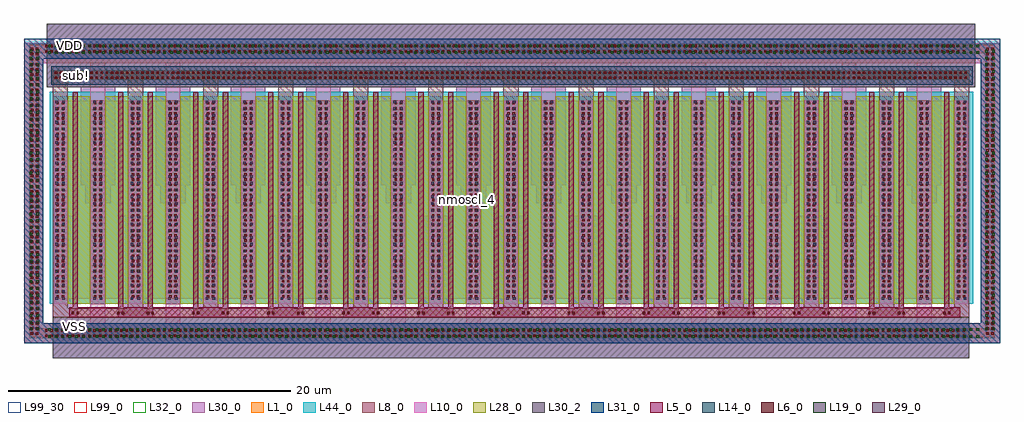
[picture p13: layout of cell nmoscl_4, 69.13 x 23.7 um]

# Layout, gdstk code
import gdstk
lib = gdstk.Library(unit=1e-6, precision=1e-09)
def R(c, l, rs):  # rectangles x0, y0, x1, y1
    for r in rs: c.add(gdstk.rectangle(r[:2], r[2:], *l))
def A(c, l, x, y, w, h, nx, ny, dx, dy):  # array of equal rectangles
    R(c, l, [(x+i*dx, y+j*dy, x+i*dx+w, y+j*dy+h) for i in range(nx) for j in range(ny)])
def P(c, l, *ps):  # polygons
    for p in ps: c.add(gdstk.Polygon(p, *l))
L1_0 = (1, 0)
L5_0 = (5, 0)
L6_0 = (6, 0)
L8_0 = (8, 0)
L10_0 = (10, 0)
L14_0 = (14, 0)
L19_0 = (19, 0)
L28_0 = (28, 0)
L29_0 = (29, 0)
L30_0 = (30, 0)
L30_2 = (30, 2)
L31_0 = (31, 0)
L32_0 = (32, 0)
L44_0 = (44, 0)
L99_0 = (99, 0)
L99_30 = (99, 30)

nmoscl_4 = lib.new_cell('nmoscl_4')
P(nmoscl_4, L1_0, [(0,1.2),(0,1.21),(-0.005,1.21),(-0.005,15.19),(0,15.19),(0,15.21),(64.49,15.21),(64.49,15.19),(64.495,15.19),(64.495,1.21),(64.49,1.21),(64.49,1.2)],
  [(-0.135,16.695),(-0.135,17.355),(64.605,17.355),(64.605,17.34),(64.63,17.34),(64.63,16.71),(64.605,16.71),(64.605,16.695)],
  [(-0.825,-1.58),(-0.825,-1.53),(-1.83,-1.53),(-1.83,-1.42),(-1.84,-1.42),(-1.84,-0.9),(65.83,-0.9),(65.83,18.57),(-1.18,18.57),(-1.18,-0.9),(-1.84,-0.9),(-1.84,19.04),(-1.83,19.04),(-1.83,19.2),(-0.825,19.2),(-0.825,19.25),(64.455,19.25),(64.455,19.2),(66.46,19.2),(66.46,19.04),(66.5,19.04),(66.5,-1.42),(66.46,-1.42),(66.46,-1.53),(64.455,-1.53),(64.455,-1.58)])
P(nmoscl_4, L5_0, [(0.96,-0.12),(0.96,0.59),(1.2,0.59),(1.2,15.84),(1.56,15.84),(1.56,0.59),(4.41,0.59),(4.41,15.84),(4.77,15.84),(4.77,0.59),(6.52,0.59),(6.52,15.84),(6.88,15.84),(6.88,0.59),(9.73,0.59),(9.73,15.84),(10.09,15.84),(10.09,0.59),(11.84,0.59),(11.84,15.84),(12.2,15.84),(12.2,0.59),(15.05,0.59),(15.05,15.84),(15.41,15.84),(15.41,0.59),(17.16,0.59),(17.16,15.84),(17.52,15.84),(17.52,0.59),(20.37,0.59),(20.37,15.84),(20.73,15.84),(20.73,0.59),(22.48,0.59),(22.48,15.84),(22.84,15.84),(22.84,0.59),(25.69,0.59),(25.69,15.84),(26.05,15.84),(26.05,0.59),(27.8,0.59),(27.8,15.84),(28.16,15.84),(28.16,0.59),(31.01,0.59),(31.01,15.84),(31.37,15.84),(31.37,0.59),(33.12,0.59),(33.12,15.84),(33.48,15.84),(33.48,0.59),(36.33,0.59),(36.33,15.84),(36.69,15.84),(36.69,0.59),(38.44,0.59),(38.44,15.84),(38.8,15.84),(38.8,0.59),(41.65,0.59),(41.65,15.84),(42.01,15.84),(42.01,0.59),(43.76,0.59),(43.76,15.84),(44.12,15.84),(44.12,0.59),(46.97,0.59),(46.97,15.84),(47.33,15.84),(47.33,0.59),(49.08,0.59),(49.08,15.84),(49.44,15.84),(49.44,0.59),(52.29,0.59),(52.29,15.84),(52.65,15.84),(52.65,0.59),(54.4,0.59),(54.4,15.84),(54.76,15.84),(54.76,0.59),(57.61,0.59),(57.61,15.84),(57.97,15.84),(57.97,0.59),(59.72,0.59),(59.72,15.84),(60.08,15.84),(60.08,0.59),(62.93,0.59),(62.93,15.84),(63.29,15.84),(63.29,0.59),(64.06,0.59),(64.06,-0.12)])
A(nmoscl_4, L6_0, -0.755, -1.51, 0.16, 0.16, 172, 2, 0.38, 0.38)
A(nmoscl_4, L6_0, -1.77, -1.35, 0.16, 0.16, 1, 57, 0, 0.36)
A(nmoscl_4, L6_0, -1.41, -1.35, 0.16, 0.16, 1, 57, 0, 0.36)
A(nmoscl_4, L6_0, 65.91, -1.35, 0.16, 0.16, 1, 57, 0, 0.36)
A(nmoscl_4, L6_0, 66.27, -1.35, 0.16, 0.16, 1, 57, 0, 0.36)
A(nmoscl_4, L6_0, 0.065, 1.28, 0.16, 0.16, 1, 39, 0, 0.36)
A(nmoscl_4, L6_0, 0.425, 1.28, 0.16, 0.16, 1, 39, 0, 0.36)
A(nmoscl_4, L6_0, 2.725, 1.28, 0.16, 0.16, 1, 39, 0, 0.36)
A(nmoscl_4, L6_0, 3.085, 1.28, 0.16, 0.16, 1, 39, 0, 0.36)
A(nmoscl_4, L6_0, 5.385, 1.28, 0.16, 0.16, 1, 39, 0, 0.36)
A(nmoscl_4, L6_0, 5.745, 1.28, 0.16, 0.16, 1, 39, 0, 0.36)
A(nmoscl_4, L6_0, 8.045, 1.28, 0.16, 0.16, 1, 39, 0, 0.36)
A(nmoscl_4, L6_0, 8.405, 1.28, 0.16, 0.16, 1, 39, 0, 0.36)
A(nmoscl_4, L6_0, 10.705, 1.28, 0.16, 0.16, 1, 39, 0, 0.36)
A(nmoscl_4, L6_0, 11.065, 1.28, 0.16, 0.16, 1, 39, 0, 0.36)
A(nmoscl_4, L6_0, 13.365, 1.28, 0.16, 0.16, 1, 39, 0, 0.36)
A(nmoscl_4, L6_0, 13.725, 1.28, 0.16, 0.16, 1, 39, 0, 0.36)
A(nmoscl_4, L6_0, 16.025, 1.28, 0.16, 0.16, 1, 39, 0, 0.36)
A(nmoscl_4, L6_0, 16.385, 1.28, 0.16, 0.16, 1, 39, 0, 0.36)
A(nmoscl_4, L6_0, 18.685, 1.28, 0.16, 0.16, 1, 39, 0, 0.36)
A(nmoscl_4, L6_0, 19.045, 1.28, 0.16, 0.16, 1, 39, 0, 0.36)
A(nmoscl_4, L6_0, 21.345, 1.28, 0.16, 0.16, 1, 39, 0, 0.36)
A(nmoscl_4, L6_0, 21.705, 1.28, 0.16, 0.16, 1, 39, 0, 0.36)
A(nmoscl_4, L6_0, 24.005, 1.28, 0.16, 0.16, 1, 39, 0, 0.36)
A(nmoscl_4, L6_0, 24.365, 1.28, 0.16, 0.16, 1, 39, 0, 0.36)
A(nmoscl_4, L6_0, 26.665, 1.28, 0.16, 0.16, 1, 39, 0, 0.36)
A(nmoscl_4, L6_0, 27.025, 1.28, 0.16, 0.16, 1, 39, 0, 0.36)
A(nmoscl_4, L6_0, 29.325, 1.28, 0.16, 0.16, 1, 39, 0, 0.36)
A(nmoscl_4, L6_0, 29.685, 1.28, 0.16, 0.16, 1, 39, 0, 0.36)
A(nmoscl_4, L6_0, 31.985, 1.28, 0.16, 0.16, 1, 39, 0, 0.36)
A(nmoscl_4, L6_0, 32.345, 1.28, 0.16, 0.16, 1, 39, 0, 0.36)
A(nmoscl_4, L6_0, 34.645, 1.28, 0.16, 0.16, 1, 39, 0, 0.36)
A(nmoscl_4, L6_0, 35.005, 1.28, 0.16, 0.16, 1, 39, 0, 0.36)
A(nmoscl_4, L6_0, 37.305, 1.28, 0.16, 0.16, 1, 39, 0, 0.36)
A(nmoscl_4, L6_0, 37.665, 1.28, 0.16, 0.16, 1, 39, 0, 0.36)
A(nmoscl_4, L6_0, 39.965, 1.28, 0.16, 0.16, 1, 39, 0, 0.36)
A(nmoscl_4, L6_0, 40.325, 1.28, 0.16, 0.16, 1, 39, 0, 0.36)
A(nmoscl_4, L6_0, 42.625, 1.28, 0.16, 0.16, 1, 39, 0, 0.36)
A(nmoscl_4, L6_0, 42.985, 1.28, 0.16, 0.16, 1, 39, 0, 0.36)
A(nmoscl_4, L6_0, 45.285, 1.28, 0.16, 0.16, 1, 39, 0, 0.36)
A(nmoscl_4, L6_0, 45.645, 1.28, 0.16, 0.16, 1, 39, 0, 0.36)
A(nmoscl_4, L6_0, 47.945, 1.28, 0.16, 0.16, 1, 39, 0, 0.36)
A(nmoscl_4, L6_0, 48.305, 1.28, 0.16, 0.16, 1, 39, 0, 0.36)
A(nmoscl_4, L6_0, 50.605, 1.28, 0.16, 0.16, 1, 39, 0, 0.36)
A(nmoscl_4, L6_0, 50.965, 1.28, 0.16, 0.16, 1, 39, 0, 0.36)
A(nmoscl_4, L6_0, 53.265, 1.28, 0.16, 0.16, 1, 39, 0, 0.36)
A(nmoscl_4, L6_0, 53.625, 1.28, 0.16, 0.16, 1, 39, 0, 0.36)
A(nmoscl_4, L6_0, 55.925, 1.28, 0.16, 0.16, 1, 39, 0, 0.36)
A(nmoscl_4, L6_0, 56.285, 1.28, 0.16, 0.16, 1, 39, 0, 0.36)
A(nmoscl_4, L6_0, 58.585, 1.28, 0.16, 0.16, 1, 39, 0, 0.36)
A(nmoscl_4, L6_0, 58.945, 1.28, 0.16, 0.16, 1, 39, 0, 0.36)
A(nmoscl_4, L6_0, 61.245, 1.28, 0.16, 0.16, 1, 39, 0, 0.36)
A(nmoscl_4, L6_0, 61.605, 1.28, 0.16, 0.16, 1, 39, 0, 0.36)
A(nmoscl_4, L6_0, 63.905, 1.28, 0.16, 0.16, 1, 39, 0, 0.36)
A(nmoscl_4, L6_0, 64.265, 1.28, 0.16, 0.16, 1, 39, 0, 0.36)
A(nmoscl_4, L6_0, -0.065, 16.765, 0.16, 0.16, 180, 2, 0.36, 0.36)
A(nmoscl_4, L6_0, -0.755, 18.64, 0.16, 0.16, 172, 2, 0.38, 0.38)
R(nmoscl_4, L6_0, [(1.13,0.115,1.29,0.275), (1.47,0.115,1.63,0.275), (4.34,0.115,4.5,0.275), (4.68,0.115,4.84,0.275), (6.45,0.115,6.61,0.275), (6.79,0.115,6.95,0.275), (9.66,0.115,9.82,0.275), (10,0.115,10.16,0.275), (11.77,0.115,11.93,0.275), (12.11,0.115,12.27,0.275), (14.98,0.115,15.14,0.275), (15.32,0.115,15.48,0.275), (17.09,0.115,17.25,0.275), (17.43,0.115,17.59,0.275), (20.3,0.115,20.46,0.275), (20.64,0.115,20.8,0.275), (22.41,0.115,22.57,0.275), (22.75,0.115,22.91,0.275), (25.62,0.115,25.78,0.275), (25.96,0.115,26.12,0.275), (27.73,0.115,27.89,0.275), (28.07,0.115,28.23,0.275), (30.94,0.115,31.1,0.275), (31.28,0.115,31.44,0.275), (33.05,0.115,33.21,0.275), (33.39,0.115,33.55,0.275), (36.26,0.115,36.42,0.275), (36.6,0.115,36.76,0.275), (38.37,0.115,38.53,0.275), (38.71,0.115,38.87,0.275), (41.58,0.115,41.74,0.275), (41.92,0.115,42.08,0.275), (43.69,0.115,43.85,0.275), (44.03,0.115,44.19,0.275), (46.9,0.115,47.06,0.275), (47.24,0.115,47.4,0.275), (49.01,0.115,49.17,0.275), (49.35,0.115,49.51,0.275), (52.22,0.115,52.38,0.275), (52.56,0.115,52.72,0.275), (54.33,0.115,54.49,0.275), (54.67,0.115,54.83,0.275), (57.54,0.115,57.7,0.275), (57.88,0.115,58.04,0.275), (59.65,0.115,59.81,0.275), (59.99,0.115,60.15,0.275), (62.86,0.115,63.02,0.275), (63.2,0.115,63.36,0.275)])
P(nmoscl_4, L8_0, [(60.98,0.81),(60.98,15.21),(61.11,15.21),(61.11,15.245),(61.88,15.245),(61.88,15.21),(62.03,15.21),(62.03,0.81)],
  [(55.66,0.81),(55.66,15.21),(55.79,15.21),(55.79,15.245),(56.56,15.245),(56.56,15.21),(56.71,15.21),(56.71,0.81)],
  [(50.34,0.81),(50.34,15.21),(50.47,15.21),(50.47,15.245),(51.24,15.245),(51.24,15.21),(51.39,15.21),(51.39,0.81)],
  [(45.02,0.81),(45.02,15.21),(45.15,15.21),(45.15,15.245),(45.92,15.245),(45.92,15.21),(46.07,15.21),(46.07,0.81)],
  [(39.7,0.81),(39.7,15.21),(39.83,15.21),(39.83,15.245),(40.6,15.245),(40.6,15.21),(40.75,15.21),(40.75,0.81)],
  [(34.38,0.81),(34.38,15.21),(34.51,15.21),(34.51,15.245),(35.28,15.245),(35.28,15.21),(35.43,15.21),(35.43,0.81)],
  [(29.06,0.81),(29.06,15.21),(29.19,15.21),(29.19,15.245),(29.96,15.245),(29.96,15.21),(30.11,15.21),(30.11,0.81)],
  [(23.74,0.81),(23.74,15.21),(23.87,15.21),(23.87,15.245),(24.64,15.245),(24.64,15.21),(24.79,15.21),(24.79,0.81)],
  [(18.42,0.81),(18.42,15.21),(18.55,15.21),(18.55,15.245),(19.32,15.245),(19.32,15.21),(19.47,15.21),(19.47,0.81)],
  [(13.1,0.81),(13.1,15.21),(13.23,15.21),(13.23,15.245),(14,15.245),(14,15.21),(14.15,15.21),(14.15,0.81)],
  [(7.78,0.81),(7.78,15.21),(7.91,15.21),(7.91,15.245),(8.68,15.245),(8.68,15.21),(8.83,15.21),(8.83,0.81)],
  [(2.46,0.81),(2.46,15.21),(2.59,15.21),(2.59,15.245),(3.36,15.245),(3.36,15.21),(3.51,15.21),(3.51,0.81)],
  [(-0.21,-0.12),(-0.21,0.51),(63.65,0.51),(63.65,16.71),(59.38,16.71),(59.38,0.51),(58.31,0.51),(58.31,16.71),(54.06,16.71),(54.06,0.51),(52.99,0.51),(52.99,16.71),(48.74,16.71),(48.74,0.51),(47.67,0.51),(47.67,16.71),(43.42,16.71),(43.42,0.51),(42.35,0.51),(42.35,16.71),(38.1,16.71),(38.1,0.51),(37.03,0.51),(37.03,16.71),(32.78,16.71),(32.78,0.51),(31.71,0.51),(31.71,16.71),(27.46,16.71),(27.46,0.51),(26.39,0.51),(26.39,16.71),(22.14,16.71),(22.14,0.51),(21.07,0.51),(21.07,16.71),(16.82,16.71),(16.82,0.51),(15.75,0.51),(15.75,16.71),(11.5,16.71),(11.5,0.51),(10.43,0.51),(10.43,16.71),(6.18,16.71),(6.18,0.51),(5.11,0.51),(5.11,16.71),(0.84,16.71),(0.84,0.51),(-0.21,0.51),(-0.21,17.4),(64.69,17.4),(64.69,17.37),(64.7,17.37),(64.7,-0.12)],
  [(-2.25,-1.95),(-2.25,-0.54),(65.5,-0.54),(65.5,17.88),(-0.87,17.88),(-0.87,-0.54),(-2.25,-0.54),(-2.25,19.29),(66.88,19.29),(66.88,-1.95)])
P(nmoscl_4, L10_0, [(63.65,0.84),(63.65,15.21),(63.77,15.21),(63.77,15.24),(64.54,15.24),(64.54,15.21),(64.61,15.21),(64.61,0.84)],
  [(58.33,0.84),(58.33,15.21),(58.45,15.21),(58.45,15.24),(59.22,15.24),(59.22,15.21),(59.36,15.21),(59.36,0.84)],
  [(53.01,0.84),(53.01,15.21),(53.13,15.21),(53.13,15.24),(53.9,15.24),(53.9,15.21),(54.04,15.21),(54.04,0.84)],
  [(47.69,0.84),(47.69,15.21),(47.81,15.21),(47.81,15.24),(48.58,15.24),(48.58,15.21),(48.72,15.21),(48.72,0.84)],
  [(42.37,0.84),(42.37,15.21),(42.49,15.21),(42.49,15.24),(43.26,15.24),(43.26,15.21),(43.4,15.21),(43.4,0.84)],
  [(37.05,0.84),(37.05,15.21),(37.17,15.21),(37.17,15.24),(37.94,15.24),(37.94,15.21),(38.08,15.21),(38.08,0.84)],
  [(31.73,0.84),(31.73,15.21),(31.85,15.21),(31.85,15.24),(32.62,15.24),(32.62,15.21),(32.76,15.21),(32.76,0.84)],
  [(26.41,0.84),(26.41,15.21),(26.53,15.21),(26.53,15.24),(27.3,15.24),(27.3,15.21),(27.44,15.21),(27.44,0.84)],
  [(21.09,0.84),(21.09,15.21),(21.21,15.21),(21.21,15.24),(21.98,15.24),(21.98,15.21),(22.12,15.21),(22.12,0.84)],
  [(15.77,0.84),(15.77,15.21),(15.89,15.21),(15.89,15.24),(16.66,15.24),(16.66,15.21),(16.8,15.21),(16.8,0.84)],
  [(10.45,0.84),(10.45,15.21),(10.57,15.21),(10.57,15.24),(11.34,15.24),(11.34,15.21),(11.48,15.21),(11.48,0.84)],
  [(5.13,0.84),(5.13,15.21),(5.25,15.21),(5.25,15.24),(6.02,15.24),(6.02,15.21),(6.16,15.21),(6.16,0.84)],
  [(-0.12,0.84),(-0.12,15.21),(-0.07,15.21),(-0.07,15.24),(0.7,15.24),(0.7,15.21),(0.84,15.21),(0.84,0.84)],
  [(-2.25,-1.95),(-2.25,-0.54),(65.5,-0.54),(65.5,17.88),(62.03,17.88),(62.03,-0.54),(60.98,-0.54),(60.98,17.88),(56.71,17.88),(56.71,-0.54),(55.66,-0.54),(55.66,17.88),(51.39,17.88),(51.39,-0.54),(50.34,-0.54),(50.34,17.88),(46.07,17.88),(46.07,-0.54),(45.02,-0.54),(45.02,17.88),(40.75,17.88),(40.75,-0.54),(39.7,-0.54),(39.7,17.88),(35.43,17.88),(35.43,-0.54),(34.38,-0.54),(34.38,17.88),(30.11,17.88),(30.11,-0.54),(29.06,-0.54),(29.06,17.88),(24.79,17.88),(24.79,-0.54),(23.74,-0.54),(23.74,17.88),(19.47,17.88),(19.47,-0.54),(18.42,-0.54),(18.42,17.88),(14.15,17.88),(14.15,-0.54),(13.1,-0.54),(13.1,17.88),(8.83,17.88),(8.83,-0.54),(7.78,-0.54),(7.78,17.88),(3.51,17.88),(3.51,-0.54),(2.46,-0.54),(2.46,17.88),(-0.87,17.88),(-0.87,-0.54),(-2.25,-0.54),(-2.25,19.29),(66.88,19.29),(66.88,-1.95)])
R(nmoscl_4, L14_0, [(-0.33,16.35,64.96,17.67)])
A(nmoscl_4, L19_0, -0.545, -1.565, 0.19, 0.19, 138, 2, 0.48, 0.48)
A(nmoscl_4, L19_0, -1.845, -1.045, 0.19, 0.19, 1, 42, 0, 0.48)
A(nmoscl_4, L19_0, -1.365, -1.045, 0.19, 0.19, 1, 42, 0, 0.48)
A(nmoscl_4, L19_0, 65.835, -1.045, 0.19, 0.19, 1, 42, 0, 0.48)
A(nmoscl_4, L19_0, 66.315, -1.045, 0.19, 0.19, 1, 42, 0, 0.48)
A(nmoscl_4, L19_0, -0.02, 1.125, 0.19, 0.19, 1, 30, 0, 0.48)
A(nmoscl_4, L19_0, 0.46, 1.125, 0.19, 0.19, 1, 30, 0, 0.48)
A(nmoscl_4, L19_0, 2.64, 1.125, 0.19, 0.19, 1, 30, 0, 0.48)
A(nmoscl_4, L19_0, 3.12, 1.125, 0.19, 0.19, 1, 30, 0, 0.48)
A(nmoscl_4, L19_0, 5.3, 1.125, 0.19, 0.19, 1, 30, 0, 0.48)
A(nmoscl_4, L19_0, 5.78, 1.125, 0.19, 0.19, 1, 30, 0, 0.48)
A(nmoscl_4, L19_0, 7.96, 1.125, 0.19, 0.19, 1, 30, 0, 0.48)
A(nmoscl_4, L19_0, 8.44, 1.125, 0.19, 0.19, 1, 30, 0, 0.48)
A(nmoscl_4, L19_0, 10.62, 1.125, 0.19, 0.19, 1, 30, 0, 0.48)
A(nmoscl_4, L19_0, 11.1, 1.125, 0.19, 0.19, 1, 30, 0, 0.48)
A(nmoscl_4, L19_0, 13.28, 1.125, 0.19, 0.19, 1, 30, 0, 0.48)
A(nmoscl_4, L19_0, 13.76, 1.125, 0.19, 0.19, 1, 30, 0, 0.48)
A(nmoscl_4, L19_0, 15.94, 1.125, 0.19, 0.19, 1, 30, 0, 0.48)
A(nmoscl_4, L19_0, 16.42, 1.125, 0.19, 0.19, 1, 30, 0, 0.48)
A(nmoscl_4, L19_0, 18.6, 1.125, 0.19, 0.19, 1, 30, 0, 0.48)
A(nmoscl_4, L19_0, 19.08, 1.125, 0.19, 0.19, 1, 30, 0, 0.48)
A(nmoscl_4, L19_0, 21.26, 1.125, 0.19, 0.19, 1, 30, 0, 0.48)
A(nmoscl_4, L19_0, 21.74, 1.125, 0.19, 0.19, 1, 30, 0, 0.48)
A(nmoscl_4, L19_0, 23.92, 1.125, 0.19, 0.19, 1, 30, 0, 0.48)
A(nmoscl_4, L19_0, 24.4, 1.125, 0.19, 0.19, 1, 30, 0, 0.48)
A(nmoscl_4, L19_0, 26.58, 1.125, 0.19, 0.19, 1, 30, 0, 0.48)
A(nmoscl_4, L19_0, 27.06, 1.125, 0.19, 0.19, 1, 30, 0, 0.48)
A(nmoscl_4, L19_0, 29.24, 1.125, 0.19, 0.19, 1, 30, 0, 0.48)
A(nmoscl_4, L19_0, 29.72, 1.125, 0.19, 0.19, 1, 30, 0, 0.48)
A(nmoscl_4, L19_0, 31.9, 1.125, 0.19, 0.19, 1, 30, 0, 0.48)
A(nmoscl_4, L19_0, 32.38, 1.125, 0.19, 0.19, 1, 30, 0, 0.48)
A(nmoscl_4, L19_0, 34.56, 1.125, 0.19, 0.19, 1, 30, 0, 0.48)
A(nmoscl_4, L19_0, 35.04, 1.125, 0.19, 0.19, 1, 30, 0, 0.48)
A(nmoscl_4, L19_0, 37.22, 1.125, 0.19, 0.19, 1, 30, 0, 0.48)
A(nmoscl_4, L19_0, 37.7, 1.125, 0.19, 0.19, 1, 30, 0, 0.48)
A(nmoscl_4, L19_0, 39.88, 1.125, 0.19, 0.19, 1, 30, 0, 0.48)
A(nmoscl_4, L19_0, 40.36, 1.125, 0.19, 0.19, 1, 30, 0, 0.48)
A(nmoscl_4, L19_0, 42.54, 1.125, 0.19, 0.19, 1, 30, 0, 0.48)
A(nmoscl_4, L19_0, 43.02, 1.125, 0.19, 0.19, 1, 30, 0, 0.48)
A(nmoscl_4, L19_0, 45.2, 1.125, 0.19, 0.19, 1, 30, 0, 0.48)
A(nmoscl_4, L19_0, 45.68, 1.125, 0.19, 0.19, 1, 30, 0, 0.48)
A(nmoscl_4, L19_0, 47.86, 1.125, 0.19, 0.19, 1, 30, 0, 0.48)
A(nmoscl_4, L19_0, 48.34, 1.125, 0.19, 0.19, 1, 30, 0, 0.48)
A(nmoscl_4, L19_0, 50.52, 1.125, 0.19, 0.19, 1, 30, 0, 0.48)
A(nmoscl_4, L19_0, 51, 1.125, 0.19, 0.19, 1, 30, 0, 0.48)
A(nmoscl_4, L19_0, 53.18, 1.125, 0.19, 0.19, 1, 30, 0, 0.48)
A(nmoscl_4, L19_0, 53.66, 1.125, 0.19, 0.19, 1, 30, 0, 0.48)
A(nmoscl_4, L19_0, 55.84, 1.125, 0.19, 0.19, 1, 30, 0, 0.48)
A(nmoscl_4, L19_0, 56.32, 1.125, 0.19, 0.19, 1, 30, 0, 0.48)
A(nmoscl_4, L19_0, 58.5, 1.125, 0.19, 0.19, 1, 30, 0, 0.48)
A(nmoscl_4, L19_0, 58.98, 1.125, 0.19, 0.19, 1, 30, 0, 0.48)
A(nmoscl_4, L19_0, 61.16, 1.125, 0.19, 0.19, 1, 30, 0, 0.48)
A(nmoscl_4, L19_0, 61.64, 1.125, 0.19, 0.19, 1, 30, 0, 0.48)
A(nmoscl_4, L19_0, 63.82, 1.125, 0.19, 0.19, 1, 30, 0, 0.48)
A(nmoscl_4, L19_0, 64.3, 1.125, 0.19, 0.19, 1, 30, 0, 0.48)
A(nmoscl_4, L19_0, -0.545, 18.535, 0.19, 0.19, 138, 2, 0.48, 0.48)
R(nmoscl_4, L28_0, [(0.84,0.84,2.46,15.54), (3.51,0.84,5.13,15.54), (6.16,0.84,7.78,15.54), (8.83,0.84,10.45,15.54), (11.48,0.84,13.1,15.54), (14.15,0.84,15.77,15.54), (16.8,0.84,18.42,15.54), (19.47,0.84,21.09,15.54), (22.12,0.84,23.74,15.54), (24.79,0.84,26.41,15.54), (27.44,0.84,29.06,15.54), (30.11,0.84,31.73,15.54), (32.76,0.84,34.38,15.54), (35.43,0.84,37.05,15.54), (38.08,0.84,39.7,15.54), (40.75,0.84,42.37,15.54), (43.4,0.84,45.02,15.54), (46.07,0.84,47.69,15.54), (48.72,0.84,50.34,15.54), (51.39,0.84,53.01,15.54), (54.04,0.84,55.66,15.54), (56.71,0.84,58.33,15.54), (59.36,0.84,60.98,15.54), (62.03,0.84,63.65,15.54)])
A(nmoscl_4, L29_0, -0.02, 1.125, 0.19, 0.19, 1, 30, 0, 0.48)
A(nmoscl_4, L29_0, 0.46, 1.125, 0.19, 0.19, 1, 30, 0, 0.48)
A(nmoscl_4, L29_0, 2.64, 1.125, 0.19, 0.19, 1, 30, 0, 0.48)
A(nmoscl_4, L29_0, 3.12, 1.125, 0.19, 0.19, 1, 30, 0, 0.48)
A(nmoscl_4, L29_0, 5.3, 1.125, 0.19, 0.19, 1, 30, 0, 0.48)
A(nmoscl_4, L29_0, 5.78, 1.125, 0.19, 0.19, 1, 30, 0, 0.48)
A(nmoscl_4, L29_0, 7.96, 1.125, 0.19, 0.19, 1, 30, 0, 0.48)
A(nmoscl_4, L29_0, 8.44, 1.125, 0.19, 0.19, 1, 30, 0, 0.48)
A(nmoscl_4, L29_0, 10.62, 1.125, 0.19, 0.19, 1, 30, 0, 0.48)
A(nmoscl_4, L29_0, 11.1, 1.125, 0.19, 0.19, 1, 30, 0, 0.48)
A(nmoscl_4, L29_0, 13.28, 1.125, 0.19, 0.19, 1, 30, 0, 0.48)
A(nmoscl_4, L29_0, 13.76, 1.125, 0.19, 0.19, 1, 30, 0, 0.48)
A(nmoscl_4, L29_0, 15.94, 1.125, 0.19, 0.19, 1, 30, 0, 0.48)
A(nmoscl_4, L29_0, 16.42, 1.125, 0.19, 0.19, 1, 30, 0, 0.48)
A(nmoscl_4, L29_0, 18.6, 1.125, 0.19, 0.19, 1, 30, 0, 0.48)
A(nmoscl_4, L29_0, 19.08, 1.125, 0.19, 0.19, 1, 30, 0, 0.48)
A(nmoscl_4, L29_0, 21.26, 1.125, 0.19, 0.19, 1, 30, 0, 0.48)
A(nmoscl_4, L29_0, 21.74, 1.125, 0.19, 0.19, 1, 30, 0, 0.48)
A(nmoscl_4, L29_0, 23.92, 1.125, 0.19, 0.19, 1, 30, 0, 0.48)
A(nmoscl_4, L29_0, 24.4, 1.125, 0.19, 0.19, 1, 30, 0, 0.48)
A(nmoscl_4, L29_0, 26.58, 1.125, 0.19, 0.19, 1, 30, 0, 0.48)
A(nmoscl_4, L29_0, 27.06, 1.125, 0.19, 0.19, 1, 30, 0, 0.48)
A(nmoscl_4, L29_0, 29.24, 1.125, 0.19, 0.19, 1, 30, 0, 0.48)
A(nmoscl_4, L29_0, 29.72, 1.125, 0.19, 0.19, 1, 30, 0, 0.48)
A(nmoscl_4, L29_0, 31.9, 1.125, 0.19, 0.19, 1, 30, 0, 0.48)
A(nmoscl_4, L29_0, 32.38, 1.125, 0.19, 0.19, 1, 30, 0, 0.48)
A(nmoscl_4, L29_0, 34.56, 1.125, 0.19, 0.19, 1, 30, 0, 0.48)
A(nmoscl_4, L29_0, 35.04, 1.125, 0.19, 0.19, 1, 30, 0, 0.48)
A(nmoscl_4, L29_0, 37.22, 1.125, 0.19, 0.19, 1, 30, 0, 0.48)
A(nmoscl_4, L29_0, 37.7, 1.125, 0.19, 0.19, 1, 30, 0, 0.48)
A(nmoscl_4, L29_0, 39.88, 1.125, 0.19, 0.19, 1, 30, 0, 0.48)
A(nmoscl_4, L29_0, 40.36, 1.125, 0.19, 0.19, 1, 30, 0, 0.48)
A(nmoscl_4, L29_0, 42.54, 1.125, 0.19, 0.19, 1, 30, 0, 0.48)
A(nmoscl_4, L29_0, 43.02, 1.125, 0.19, 0.19, 1, 30, 0, 0.48)
A(nmoscl_4, L29_0, 45.2, 1.125, 0.19, 0.19, 1, 30, 0, 0.48)
A(nmoscl_4, L29_0, 45.68, 1.125, 0.19, 0.19, 1, 30, 0, 0.48)
A(nmoscl_4, L29_0, 47.86, 1.125, 0.19, 0.19, 1, 30, 0, 0.48)
A(nmoscl_4, L29_0, 48.34, 1.125, 0.19, 0.19, 1, 30, 0, 0.48)
A(nmoscl_4, L29_0, 50.52, 1.125, 0.19, 0.19, 1, 30, 0, 0.48)
A(nmoscl_4, L29_0, 51, 1.125, 0.19, 0.19, 1, 30, 0, 0.48)
A(nmoscl_4, L29_0, 53.18, 1.125, 0.19, 0.19, 1, 30, 0, 0.48)
A(nmoscl_4, L29_0, 53.66, 1.125, 0.19, 0.19, 1, 30, 0, 0.48)
A(nmoscl_4, L29_0, 55.84, 1.125, 0.19, 0.19, 1, 30, 0, 0.48)
A(nmoscl_4, L29_0, 56.32, 1.125, 0.19, 0.19, 1, 30, 0, 0.48)
A(nmoscl_4, L29_0, 58.5, 1.125, 0.19, 0.19, 1, 30, 0, 0.48)
A(nmoscl_4, L29_0, 58.98, 1.125, 0.19, 0.19, 1, 30, 0, 0.48)
A(nmoscl_4, L29_0, 61.16, 1.125, 0.19, 0.19, 1, 30, 0, 0.48)
A(nmoscl_4, L29_0, 61.64, 1.125, 0.19, 0.19, 1, 30, 0, 0.48)
A(nmoscl_4, L29_0, 63.82, 1.125, 0.19, 0.19, 1, 30, 0, 0.48)
A(nmoscl_4, L29_0, 64.3, 1.125, 0.19, 0.19, 1, 30, 0, 0.48)
P(nmoscl_4, L30_0, [(-0.21,-3.02),(-0.21,15.54),(0.84,15.54),(0.84,7.08),(1.56,7.08),(1.56,-0.12),(4.41,-0.12),(4.41,7.08),(5.11,7.08),(5.11,15.54),(6.18,15.54),(6.18,7.08),(6.88,7.08),(6.88,-0.12),(9.73,-0.12),(9.73,7.08),(10.43,7.08),(10.43,15.54),(11.5,15.54),(11.5,7.08),(12.2,7.08),(12.2,-0.12),(15.05,-0.12),(15.05,7.08),(15.75,7.08),(15.75,15.54),(16.82,15.54),(16.82,7.08),(17.52,7.08),(17.52,-0.12),(20.37,-0.12),(20.37,7.08),(21.07,7.08),(21.07,15.54),(22.14,15.54),(22.14,7.08),(22.84,7.08),(22.84,-0.12),(25.69,-0.12),(25.69,7.08),(26.39,7.08),(26.39,15.54),(27.46,15.54),(27.46,7.08),(28.16,7.08),(28.16,-0.12),(31.01,-0.12),(31.01,7.08),(31.71,7.08),(31.71,15.54),(32.78,15.54),(32.78,7.08),(33.48,7.08),(33.48,-0.12),(36.33,-0.12),(36.33,7.08),(37.03,7.08),(37.03,15.54),(38.1,15.54),(38.1,7.08),(38.8,7.08),(38.8,-0.12),(41.65,-0.12),(41.65,7.08),(42.35,7.08),(42.35,15.54),(43.42,15.54),(43.42,7.08),(44.12,7.08),(44.12,-0.12),(46.97,-0.12),(46.97,7.08),(47.67,7.08),(47.67,15.54),(48.74,15.54),(48.74,7.08),(49.44,7.08),(49.44,-0.12),(52.29,-0.12),(52.29,7.08),(52.99,7.08),(52.99,15.54),(54.06,15.54),(54.06,7.08),(54.76,7.08),(54.76,-0.12),(57.61,-0.12),(57.61,7.08),(58.31,7.08),(58.31,15.54),(59.38,15.54),(59.38,7.08),(60.08,7.08),(60.08,-0.12),(62.93,-0.12),(62.93,7.08),(63.65,7.08),(63.65,15.54),(64.7,15.54),(64.7,-3.02)],
  [(2.46,0.84),(2.46,7.98),(2.095,7.98),(2.095,9.24),(1.77,9.24),(1.77,16.17),(-0.63,16.17),(-0.63,20.68),(65.12,20.68),(65.12,16.17),(62.72,16.17),(62.72,9.24),(62.415,9.24),(62.415,7.98),(62.03,7.98),(62.03,0.84),(60.98,0.84),(60.98,7.98),(60.615,7.98),(60.615,9.24),(60.29,9.24),(60.29,16.17),(57.4,16.17),(57.4,9.24),(57.095,9.24),(57.095,7.98),(56.71,7.98),(56.71,0.84),(55.66,0.84),(55.66,7.98),(55.295,7.98),(55.295,9.24),(54.97,9.24),(54.97,16.17),(52.08,16.17),(52.08,9.24),(51.775,9.24),(51.775,7.98),(51.39,7.98),(51.39,0.84),(50.34,0.84),(50.34,7.98),(49.975,7.98),(49.975,9.24),(49.65,9.24),(49.65,16.17),(46.76,16.17),(46.76,9.24),(46.455,9.24),(46.455,7.98),(46.07,7.98),(46.07,0.84),(45.02,0.84),(45.02,7.98),(44.655,7.98),(44.655,9.24),(44.33,9.24),(44.33,16.17),(41.44,16.17),(41.44,9.24),(41.135,9.24),(41.135,7.98),(40.75,7.98),(40.75,0.84),(39.7,0.84),(39.7,7.98),(39.335,7.98),(39.335,9.24),(39.01,9.24),(39.01,16.17),(36.12,16.17),(36.12,9.24),(35.815,9.24),(35.815,7.98),(35.43,7.98),(35.43,0.84),(34.38,0.84),(34.38,7.98),(34.015,7.98),(34.015,9.24),(33.69,9.24),(33.69,16.17),(30.8,16.17),(30.8,9.24),(30.495,9.24),(30.495,7.98),(30.11,7.98),(30.11,0.84),(29.06,0.84),(29.06,7.98),(28.695,7.98),(28.695,9.24),(28.37,9.24),(28.37,16.17),(25.48,16.17),(25.48,9.24),(25.175,9.24),(25.175,7.98),(24.79,7.98),(24.79,0.84),(23.74,0.84),(23.74,7.98),(23.375,7.98),(23.375,9.24),(23.05,9.24),(23.05,16.17),(20.16,16.17),(20.16,9.24),(19.855,9.24),(19.855,7.98),(19.47,7.98),(19.47,0.84),(18.42,0.84),(18.42,7.98),(18.055,7.98),(18.055,9.24),(17.73,9.24),(17.73,16.17),(14.84,16.17),(14.84,9.24),(14.535,9.24),(14.535,7.98),(14.15,7.98),(14.15,0.84),(13.1,0.84),(13.1,7.98),(12.735,7.98),(12.735,9.24),(12.41,9.24),(12.41,16.17),(9.52,16.17),(9.52,9.24),(9.215,9.24),(9.215,7.98),(8.83,7.98),(8.83,0.84),(7.78,0.84),(7.78,7.98),(7.415,7.98),(7.415,9.24),(7.09,9.24),(7.09,16.17),(4.2,16.17),(4.2,9.24),(3.895,9.24),(3.895,7.98),(3.51,7.98),(3.51,0.84)])
R(nmoscl_4, L30_2, [(-0.21,-3.02,64.7,-0.12), (-0.63,16.17,65.12,20.68)])
P(nmoscl_4, L31_0, [(-2.25,-1.95),(-2.25,-0.54),(65.5,-0.54),(65.5,18.21),(-0.87,18.21),(-0.87,-0.54),(-2.25,-0.54),(-2.25,19.62),(66.88,19.62),(66.88,-1.95)])
R(nmoscl_4, L32_0, [(-1.89,-1.59,66.52,19.26)])
R(nmoscl_4, L44_0, [(-0.42,0.86,64.98,15.845)])
R(nmoscl_4, L99_0, [(-2.25,-1.95,66.88,19.62)])
R(nmoscl_4, L99_30, [(-2.25,-1.95,66.88,19.62)])
nmoscl_4.add(gdstk.Label('VDD', (0.96,19.11), layer=63, texttype=0))
nmoscl_4.add(gdstk.Label('sub!', (1.45,17.01), layer=63, texttype=0))
nmoscl_4.add(gdstk.Label('VSS', (1.295,-0.751), layer=63, texttype=0))
nmoscl_4.add(gdstk.Label('nmoscl_4', (29.13,8.2), layer=63, texttype=0))
nmoscl_4.add(gdstk.Label('sub!', (1.45,17.01), layer=40, texttype=0))

lib.write_gds('nmoscl_4.gds')
